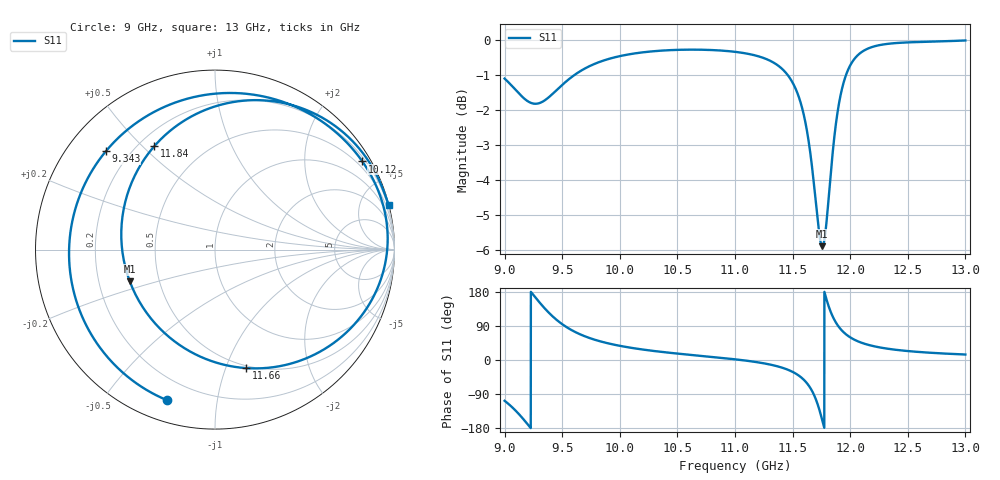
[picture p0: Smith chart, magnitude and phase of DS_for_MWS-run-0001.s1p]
! TOUCHSTONE file generated by CST DESIGN STUDIO
! Date and time: Tue Feb  4 16:15:17 2025
! Project name: C:\Work\MatlabApps\UnitCellOptimizationMatlab\CST\unitcell.cst
! Tree item: Tasks\Sweep1\SPara1\S-Parameters
! Header version: 2024
! Port assignment regex: !\s*Touchstone port\s*([0-9]+)\s*=\s*(CST MWS port|CST DES external port|CST DES block port)\s*(.+)\s* \(\"(.*)\"\)(\s*mode\s*([0-9]+))?.*
! Touchstone port assignment:
! Touchstone port 1 = CST DES external port 1 ("")
# GHz S MA R 50
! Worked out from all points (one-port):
!   4001 points, 9 GHz to 13 GHz, reference 50 ohm
!   lowest |S11| = -5.9 dB at 11.76 GHz (marker M1), VSWR 3.05, Z = 16.8 - j8.05 ohm
!   |S11| at or under -10 dB: nowhere
!   S11 on the Smith chart (normalised r, x): 9 GHz: 0.10, -0.73; 9.343 GHz: 0.11, +0.38; 10.12 GHz: 0.31, +3.59; 11.66 GHz: 0.48, -1.18; 11.84 GHz: 0.26, +0.54; 13 GHz: 0.04, +7.88
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9  0.8807 -107.6
9.094  0.8491 -133.1
9.194  0.8188 -167.4
9.265  0.8105 165.9
9.343  0.8186 138.0
9.418  0.8378 114.8
9.5  0.8625 94.5
9.606  0.8911 74.9
9.717  0.9141 60.2
10  0.9484 37.4
10.125  0.9567 30.9
10.5  0.9682 16.9
11  0.9619 1.8
11.321  0.9311 -13.1
11.5  0.8691 -31.3
11.586  0.7954 -48.9
11.657  0.6824 -75.3
11.709  0.5691 -109.5
11.758  0.5067 -159.5
11.796  0.5521 158.1
11.84  0.6684 120.3
11.87  0.745 101.9
11.904  0.8136 86.4
12  0.9198 59.8
12.079  0.9556 47.8
12.18  0.9761 38.1
12.5  0.9924 23.6
13  0.9987 14.5
